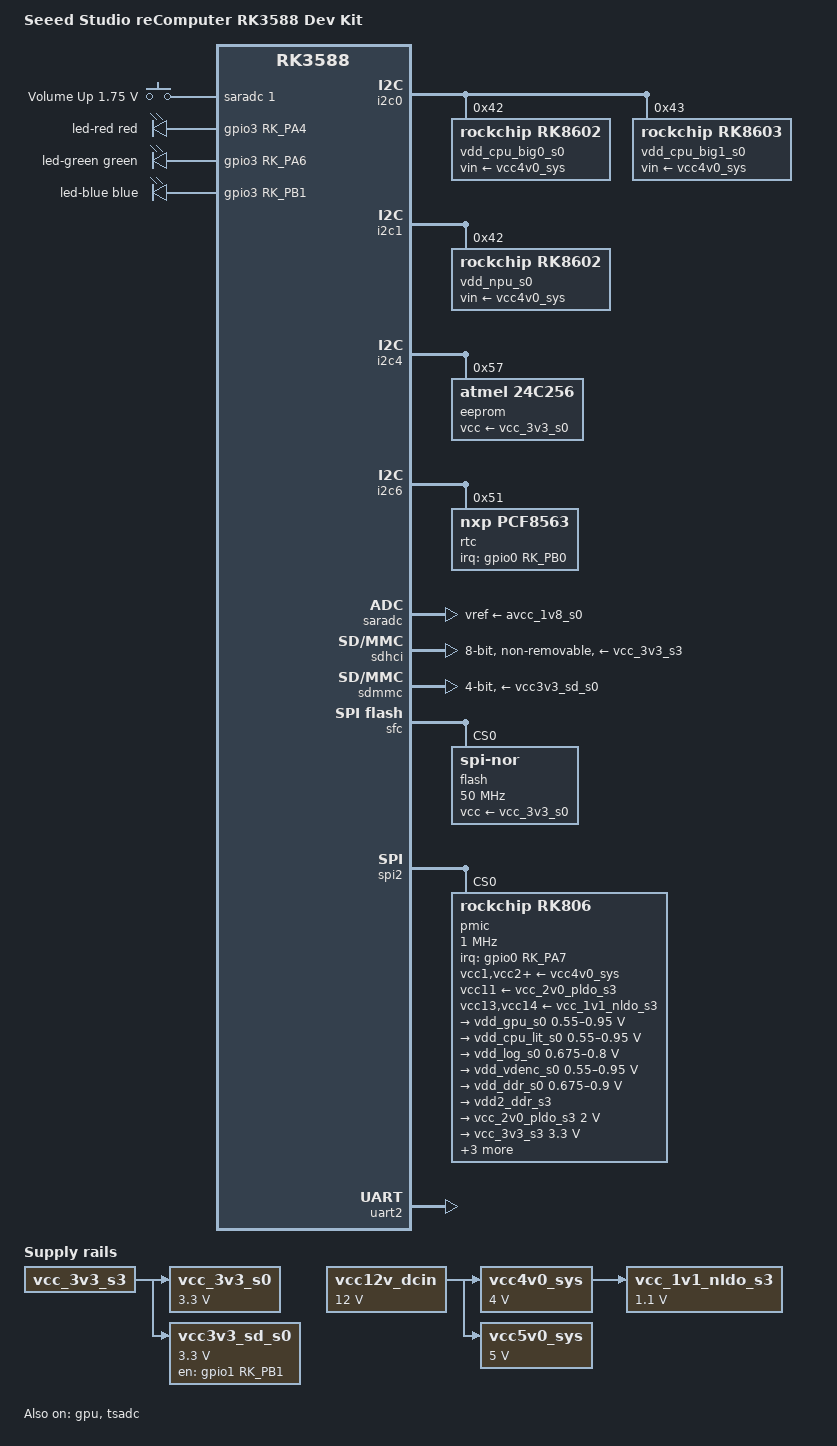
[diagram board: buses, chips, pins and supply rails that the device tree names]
// SPDX-License-Identifier: (GPL-2.0+ OR MIT)
/*
 * Copyright (c) 2026 Ricardo Pardini <ricardo@pardini.net>
 */

/dts-v1/;

#include <dt-bindings/gpio/gpio.h>
#include <dt-bindings/input/input.h>
#include <dt-bindings/leds/common.h>
#include <dt-bindings/pinctrl/rockchip.h>
#include "rk3588.dtsi"

/ {
	model = "Seeed Studio reComputer RK3588 Dev Kit";
	compatible = "seeed,recomputer-rk3588-devkit", "rockchip,rk3588";

	adc-keys {
		compatible = "adc-keys";
		io-channels = <&saradc 1>;
		io-channel-names = "buttons";
		keyup-threshold-microvolt = <1800000>;
		poll-interval = <100>;

		button-vol-up {
			label = "Volume Up";
			linux,code = <KEY_VOLUMEUP>;
			press-threshold-microvolt = <1750000>;
		};
	};

	aliases {
		mmc0 = &sdhci;
		mmc1 = &sdmmc;
	};

	chosen {
		stdout-path = "serial2:1500000n8";
	};

	/*
	 * LED1 is a common-anode RGB LED tied to the ext_3v3 rail; each colour
	 * is switched by an NMOS driven from the SoC.
	 */
	leds {
		compatible = "gpio-leds";
		pinctrl-names = "default";
		pinctrl-0 = <&user_led_r>, <&user_led_g>, <&user_led_b>;

		led-red {
			color = <LED_COLOR_ID_RED>;
			function = LED_FUNCTION_INDICATOR;
			gpios = <&gpio3 RK_PA4 GPIO_ACTIVE_HIGH>;
		};

		led-green {
			color = <LED_COLOR_ID_GREEN>;
			function = LED_FUNCTION_INDICATOR;
			gpios = <&gpio3 RK_PA6 GPIO_ACTIVE_HIGH>;
		};

		led-blue {
			color = <LED_COLOR_ID_BLUE>;
			function = LED_FUNCTION_HEARTBEAT;
			gpios = <&gpio3 RK_PB1 GPIO_ACTIVE_HIGH>;
			linux,default-trigger = "heartbeat";
		};
	};

	vcc_1v1_nldo_s3: regulator-vcc-1v1-nldo-s3 {
		compatible = "regulator-fixed";
		regulator-always-on;
		regulator-boot-on;
		regulator-min-microvolt = <1100000>;
		regulator-max-microvolt = <1100000>;
		regulator-name = "vcc_1v1_nldo_s3";
		vin-supply = <&vcc4v0_sys>;
	};

	/* Load switch off vcc_3v3_s3; supplies the eMMC, the SPI NOR and PMUIO2. */
	vcc_3v3_s0: regulator-vcc-3v3-s0 {
		compatible = "regulator-fixed";
		regulator-always-on;
		regulator-boot-on;
		regulator-min-microvolt = <3300000>;
		regulator-max-microvolt = <3300000>;
		regulator-name = "vcc_3v3_s0";
		vin-supply = <&vcc_3v3_s3>;
	};

	vcc12v_dcin: regulator-vcc12v-dcin {
		compatible = "regulator-fixed";
		regulator-always-on;
		regulator-boot-on;
		regulator-min-microvolt = <12000000>;
		regulator-max-microvolt = <12000000>;
		regulator-name = "vcc12v_dcin";
	};

	vcc3v3_sd_s0: regulator-vcc3v3-sd-s0 {
		compatible = "regulator-fixed";
		enable-active-high;
		gpios = <&gpio1 RK_PB1 GPIO_ACTIVE_HIGH>;
		pinctrl-names = "default";
		pinctrl-0 = <&sdmmc_pwren>;
		regulator-boot-on;
		regulator-min-microvolt = <3300000>;
		regulator-max-microvolt = <3300000>;
		regulator-name = "vcc3v3_sd_s0";
		vin-supply = <&vcc_3v3_s3>;
	};

	/* Feeds the RK806 and the three RK860x CPU/NPU regulators. */
	vcc4v0_sys: regulator-vcc4v0-sys {
		compatible = "regulator-fixed";
		regulator-always-on;
		regulator-boot-on;
		regulator-min-microvolt = <4000000>;
		regulator-max-microvolt = <4000000>;
		regulator-name = "vcc4v0_sys";
		vin-supply = <&vcc12v_dcin>;
	};

	vcc5v0_sys: regulator-vcc5v0-sys {
		compatible = "regulator-fixed";
		regulator-always-on;
		regulator-boot-on;
		regulator-min-microvolt = <5000000>;
		regulator-max-microvolt = <5000000>;
		regulator-name = "vcc5v0_sys";
		vin-supply = <&vcc12v_dcin>;
	};
};

&cpu_b0 {
	cpu-supply = <&vdd_cpu_big0_s0>;
};

&cpu_b1 {
	cpu-supply = <&vdd_cpu_big0_s0>;
};

&cpu_b2 {
	cpu-supply = <&vdd_cpu_big1_s0>;
};

&cpu_b3 {
	cpu-supply = <&vdd_cpu_big1_s0>;
};

&cpu_l0 {
	cpu-supply = <&vdd_cpu_lit_s0>;
};

&cpu_l1 {
	cpu-supply = <&vdd_cpu_lit_s0>;
};

&cpu_l2 {
	cpu-supply = <&vdd_cpu_lit_s0>;
};

&cpu_l3 {
	cpu-supply = <&vdd_cpu_lit_s0>;
};

&gpu {
	mali-supply = <&vdd_gpu_s0>;
	status = "okay";
};

&i2c0 {
	pinctrl-names = "default";
	pinctrl-0 = <&i2c0m2_xfer>;
	status = "okay";

	vdd_cpu_big0_s0: regulator@42 {
		compatible = "rockchip,rk8602";
		reg = <0x42>;
		fcs,suspend-voltage-selector = <1>;
		regulator-always-on;
		regulator-boot-on;
		regulator-min-microvolt = <550000>;
		regulator-max-microvolt = <1050000>;
		regulator-name = "vdd_cpu_big0_s0";
		regulator-ramp-delay = <2300>;
		vin-supply = <&vcc4v0_sys>;

		regulator-state-mem {
			regulator-off-in-suspend;
		};
	};

	vdd_cpu_big1_s0: regulator@43 {
		compatible = "rockchip,rk8603", "rockchip,rk8602";
		reg = <0x43>;
		fcs,suspend-voltage-selector = <1>;
		regulator-always-on;
		regulator-boot-on;
		regulator-min-microvolt = <550000>;
		regulator-max-microvolt = <1050000>;
		regulator-name = "vdd_cpu_big1_s0";
		regulator-ramp-delay = <2300>;
		vin-supply = <&vcc4v0_sys>;

		regulator-state-mem {
			regulator-off-in-suspend;
		};
	};
};

&i2c1 {
	pinctrl-names = "default";
	pinctrl-0 = <&i2c1m2_xfer>;
	status = "okay";

	vdd_npu_s0: regulator@42 {
		compatible = "rockchip,rk8602";
		reg = <0x42>;
		fcs,suspend-voltage-selector = <1>;
		regulator-boot-on;
		regulator-enable-ramp-delay = <400>;
		regulator-min-microvolt = <550000>;
		regulator-max-microvolt = <950000>;
		regulator-name = "vdd_npu_s0";
		regulator-ramp-delay = <2300>;
		vin-supply = <&vcc4v0_sys>;

		regulator-state-mem {
			regulator-off-in-suspend;
		};
	};
};

&i2c4 {
	pinctrl-names = "default";
	pinctrl-0 = <&i2c4m1_xfer>;
	status = "okay";

	eeprom@57 {
		compatible = "atmel,24c256";
		reg = <0x57>;
		pagesize = <16>;
		vcc-supply = <&vcc_3v3_s0>;
	};
};

&i2c6 {
	status = "okay";

	rtc@51 {
		compatible = "nxp,pcf8563";
		reg = <0x51>;
		#clock-cells = <0>;
		clock-output-names = "pcf8563";
		interrupt-parent = <&gpio0>;
		interrupts = <RK_PB0 IRQ_TYPE_LEVEL_LOW>;
		pinctrl-names = "default";
		pinctrl-0 = <&pcf8563_int>;
		wakeup-source;
	};
};

&pinctrl {
	leds {
		user_led_b: user-led-b {
			rockchip,pins = <3 RK_PB1 RK_FUNC_GPIO &pcfg_pull_none>;
		};

		user_led_g: user-led-g {
			rockchip,pins = <3 RK_PA6 RK_FUNC_GPIO &pcfg_pull_none>;
		};

		user_led_r: user-led-r {
			rockchip,pins = <3 RK_PA4 RK_FUNC_GPIO &pcfg_pull_none>;
		};
	};

	pcf8563 {
		pcf8563_int: pcf8563-int {
			rockchip,pins = <0 RK_PB0 RK_FUNC_GPIO &pcfg_pull_none>;
		};
	};

	sdmmc {
		sdmmc_pwren: sdmmc-pwren {
			rockchip,pins = <1 RK_PB1 RK_FUNC_GPIO &pcfg_pull_none>;
		};
	};
};

&saradc {
	vref-supply = <&avcc_1v8_s0>;
	status = "okay";
};

&sdhci {
	bus-width = <8>;
	mmc-hs200-1_8v;
	no-sd;
	no-sdio;
	non-removable;
	vmmc-supply = <&vcc_3v3_s3>;
	vqmmc-supply = <&vcc_1v8_s3>;
	status = "okay";
};

&sdmmc {
	bus-width = <4>;
	cap-mmc-highspeed;
	cap-sd-highspeed;
	disable-wp;
	no-mmc;
	no-sdio;
	pinctrl-names = "default";
	pinctrl-0 = <&sdmmc_bus4 &sdmmc_clk &sdmmc_cmd &sdmmc_det>;
	sd-uhs-sdr104;
	vmmc-supply = <&vcc3v3_sd_s0>;
	vqmmc-supply = <&vccio_sd_s0>;
	status = "okay";
};

&sfc {
	pinctrl-names = "default";
	pinctrl-0 = <&fspim2_pins>;
	status = "okay";

	flash@0 {
		compatible = "jedec,spi-nor";
		reg = <0>;
		spi-max-frequency = <50000000>;
		spi-rx-bus-width = <4>;
		spi-tx-bus-width = <1>;
		vcc-supply = <&vcc_3v3_s0>;
	};
};

&spi2 {
	assigned-clocks = <&cru CLK_SPI2>;
	assigned-clock-rates = <200000000>;
	num-cs = <1>;
	pinctrl-names = "default";
	pinctrl-0 = <&spi2m2_cs0 &spi2m2_pins>;
	status = "okay";

	pmic@0 {
		compatible = "rockchip,rk806";
		reg = <0x0>;
		#gpio-cells = <2>;
		gpio-controller;
		interrupt-parent = <&gpio0>;
		interrupts = <RK_PA7 IRQ_TYPE_LEVEL_LOW>;
		pinctrl-names = "default";
		pinctrl-0 = <&pmic_pins>, <&rk806_dvs1_null>,
			    <&rk806_dvs2_null>, <&rk806_dvs3_null>;
		spi-max-frequency = <1000000>;
		system-power-controller;
		vcc1-supply = <&vcc4v0_sys>;
		vcc2-supply = <&vcc4v0_sys>;
		vcc3-supply = <&vcc4v0_sys>;
		vcc4-supply = <&vcc4v0_sys>;
		vcc5-supply = <&vcc4v0_sys>;
		vcc6-supply = <&vcc4v0_sys>;
		vcc7-supply = <&vcc4v0_sys>;
		vcc8-supply = <&vcc4v0_sys>;
		vcc9-supply = <&vcc4v0_sys>;
		vcc10-supply = <&vcc4v0_sys>;
		vcc11-supply = <&vcc_2v0_pldo_s3>;
		vcc12-supply = <&vcc4v0_sys>;
		vcc13-supply = <&vcc_1v1_nldo_s3>;
		vcc14-supply = <&vcc_1v1_nldo_s3>;
		vcca-supply = <&vcc4v0_sys>;

		rk806_dvs1_null: dvs1-null-pins {
			pins = "gpio_pwrctrl1";
			function = "pin_fun0";
		};

		rk806_dvs2_null: dvs2-null-pins {
			pins = "gpio_pwrctrl2";
			function = "pin_fun0";
		};

		rk806_dvs3_null: dvs3-null-pins {
			pins = "gpio_pwrctrl3";
			function = "pin_fun0";
		};

		regulators {
			vdd_gpu_s0: dcdc-reg1 {
				regulator-boot-on;
				regulator-enable-ramp-delay = <400>;
				regulator-min-microvolt = <550000>;
				regulator-max-microvolt = <950000>;
				regulator-name = "vdd_gpu_s0";
				regulator-ramp-delay = <12500>;

				regulator-state-mem {
					regulator-off-in-suspend;
				};
			};

			vdd_cpu_lit_s0: dcdc-reg2 {
				regulator-always-on;
				regulator-boot-on;
				regulator-min-microvolt = <550000>;
				regulator-max-microvolt = <950000>;
				regulator-name = "vdd_cpu_lit_s0";
				regulator-ramp-delay = <12500>;

				regulator-state-mem {
					regulator-off-in-suspend;
				};
			};

			vdd_log_s0: dcdc-reg3 {
				regulator-always-on;
				regulator-boot-on;
				regulator-min-microvolt = <675000>;
				regulator-max-microvolt = <800000>;
				regulator-name = "vdd_log_s0";
				regulator-ramp-delay = <12500>;

				regulator-state-mem {
					regulator-on-in-suspend;
					regulator-suspend-microvolt = <750000>;
				};
			};

			vdd_vdenc_s0: dcdc-reg4 {
				regulator-always-on;
				regulator-boot-on;
				regulator-min-microvolt = <550000>;
				regulator-max-microvolt = <950000>;
				regulator-name = "vdd_vdenc_s0";
				regulator-ramp-delay = <12500>;

				regulator-state-mem {
					regulator-off-in-suspend;
				};
			};

			vdd_ddr_s0: dcdc-reg5 {
				regulator-always-on;
				regulator-boot-on;
				regulator-min-microvolt = <675000>;
				regulator-max-microvolt = <900000>;
				regulator-name = "vdd_ddr_s0";
				regulator-ramp-delay = <12500>;

				regulator-state-mem {
					regulator-off-in-suspend;
					regulator-suspend-microvolt = <850000>;
				};
			};

			vdd2_ddr_s3: dcdc-reg6 {
				regulator-always-on;
				regulator-boot-on;
				regulator-name = "vdd2_ddr_s3";

				regulator-state-mem {
					regulator-on-in-suspend;
				};
			};

			vcc_2v0_pldo_s3: dcdc-reg7 {
				regulator-always-on;
				regulator-boot-on;
				regulator-min-microvolt = <2000000>;
				regulator-max-microvolt = <2000000>;
				regulator-name = "vcc_2v0_pldo_s3";
				regulator-ramp-delay = <12500>;

				regulator-state-mem {
					regulator-on-in-suspend;
					regulator-suspend-microvolt = <2000000>;
				};
			};

			vcc_3v3_s3: dcdc-reg8 {
				regulator-always-on;
				regulator-boot-on;
				regulator-min-microvolt = <3300000>;
				regulator-max-microvolt = <3300000>;
				regulator-name = "vcc_3v3_s3";

				regulator-state-mem {
					regulator-on-in-suspend;
					regulator-suspend-microvolt = <3300000>;
				};
			};

			vddq_ddr_s0: dcdc-reg9 {
				regulator-always-on;
				regulator-boot-on;
				regulator-name = "vddq_ddr_s0";

				regulator-state-mem {
					regulator-off-in-suspend;
				};
			};

			vcc_1v8_s3: dcdc-reg10 {
				regulator-always-on;
				regulator-boot-on;
				regulator-min-microvolt = <1800000>;
				regulator-max-microvolt = <1800000>;
				regulator-name = "vcc_1v8_s3";

				regulator-state-mem {
					regulator-on-in-suspend;
					regulator-suspend-microvolt = <1800000>;
				};
			};

			avcc_1v8_s0: pldo-reg1 {
				regulator-always-on;
				regulator-boot-on;
				regulator-min-microvolt = <1800000>;
				regulator-max-microvolt = <1800000>;
				regulator-name = "avcc_1v8_s0";

				regulator-state-mem {
					regulator-on-in-suspend;
					regulator-suspend-microvolt = <1800000>;
				};
			};

			vcc_1v8_s0: pldo-reg2 {
				regulator-always-on;
				regulator-boot-on;
				regulator-min-microvolt = <1800000>;
				regulator-max-microvolt = <1800000>;
				regulator-name = "vcc_1v8_s0";

				regulator-state-mem {
					regulator-on-in-suspend;
					regulator-suspend-microvolt = <1800000>;
				};
			};

			avdd_1v2_s0: pldo-reg3 {
				regulator-always-on;
				regulator-boot-on;
				regulator-min-microvolt = <1200000>;
				regulator-max-microvolt = <1200000>;
				regulator-name = "avdd_1v2_s0";

				regulator-state-mem {
					regulator-off-in-suspend;
				};
			};

			/*
			 * PLDO4 is the analog 3.3 V rail (vcca_3v3_s0 on the
			 * schematic); the board's digital vcc_3v3_s0 is a
			 * separate load switch off vcc_3v3_s3.
			 */
			avcc_3v3_s0: pldo-reg4 {
				regulator-always-on;
				regulator-boot-on;
				regulator-min-microvolt = <3300000>;
				regulator-max-microvolt = <3300000>;
				regulator-name = "avcc_3v3_s0";
				regulator-ramp-delay = <12500>;

				regulator-state-mem {
					regulator-on-in-suspend;
					regulator-suspend-microvolt = <3300000>;
				};
			};

			vccio_sd_s0: pldo-reg5 {
				regulator-always-on;
				regulator-boot-on;
				regulator-min-microvolt = <1800000>;
				regulator-max-microvolt = <3300000>;
				regulator-name = "vccio_sd_s0";
				regulator-ramp-delay = <12500>;

				regulator-state-mem {
					regulator-off-in-suspend;
				};
			};

			pldo6_s3: pldo-reg6 {
				regulator-always-on;
				regulator-boot-on;
				regulator-min-microvolt = <1800000>;
				regulator-max-microvolt = <1800000>;
				regulator-name = "pldo6_s3";

				regulator-state-mem {
					regulator-on-in-suspend;
					regulator-suspend-microvolt = <1800000>;
				};
			};

			vdd_0v75_s3: nldo-reg1 {
				regulator-always-on;
				regulator-boot-on;
				regulator-min-microvolt = <750000>;
				regulator-max-microvolt = <750000>;
				regulator-name = "vdd_0v75_s3";

				regulator-state-mem {
					regulator-on-in-suspend;
					regulator-suspend-microvolt = <750000>;
				};
			};

			vdd_ddr_pll_s0: nldo-reg2 {
				regulator-always-on;
				regulator-boot-on;
				regulator-min-microvolt = <850000>;
				regulator-max-microvolt = <850000>;
				regulator-name = "vdd_ddr_pll_s0";

				regulator-state-mem {
					regulator-on-in-suspend;
					regulator-suspend-microvolt = <850000>;
				};
			};

			/* Supplies the HDMI/eDP transmitters (837.5 mV). */
			avdd_0v75_s0: nldo-reg3 {
				regulator-always-on;
				regulator-boot-on;
				regulator-min-microvolt = <837500>;
				regulator-max-microvolt = <837500>;
				regulator-name = "avdd_0v75_s0";

				regulator-state-mem {
					regulator-on-in-suspend;
					regulator-suspend-microvolt = <837500>;
				};
			};

			vdd_0v85_s0: nldo-reg4 {
				regulator-always-on;
				regulator-boot-on;
				regulator-min-microvolt = <850000>;
				regulator-max-microvolt = <850000>;
				regulator-name = "vdd_0v85_s0";

				regulator-state-mem {
					regulator-off-in-suspend;
				};
			};

			vdd_0v75_s0: nldo-reg5 {
				regulator-always-on;
				regulator-boot-on;
				regulator-min-microvolt = <750000>;
				regulator-max-microvolt = <750000>;
				regulator-name = "vdd_0v75_s0";

				regulator-state-mem {
					regulator-off-in-suspend;
				};
			};
		};
	};
};

&tsadc {
	status = "okay";
};

&uart2 {
	pinctrl-names = "default";
	pinctrl-0 = <&uart2m0_xfer>;
	status = "okay";
};
